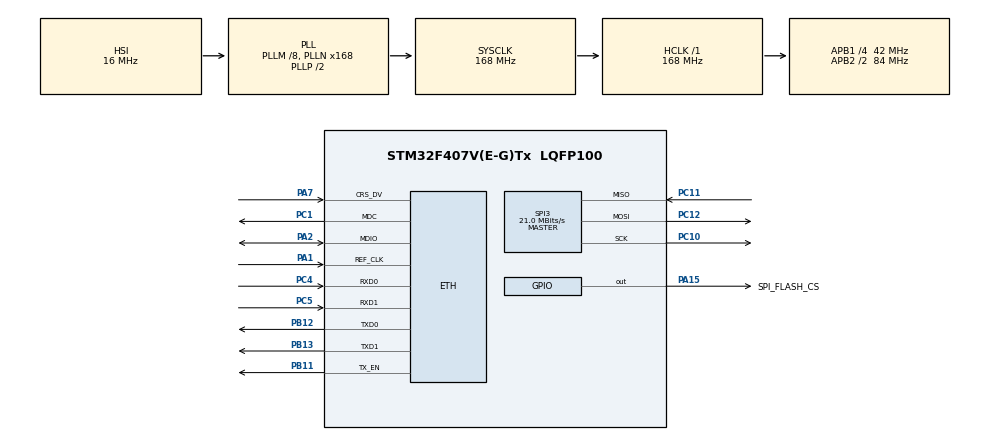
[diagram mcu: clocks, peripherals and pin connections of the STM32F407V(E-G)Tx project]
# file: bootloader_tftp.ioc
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Dma.Request0=SPI3_RX
Dma.Request1=SPI3_TX
Dma.SPI3_RX.0.Direction=DMA_PERIPH_TO_MEMORY
Dma.SPI3_RX.0.FIFOMode=DMA_FIFOMODE_DISABLE
Dma.SPI3_RX.0.Instance=DMA1_Stream0
Dma.SPI3_RX.0.MemDataAlignment=DMA_MDATAALIGN_BYTE
Dma.SPI3_RX.0.MemInc=DMA_MINC_ENABLE
Dma.SPI3_RX.0.Mode=DMA_NORMAL
Dma.SPI3_RX.0.PeriphDataAlignment=DMA_PDATAALIGN_BYTE
Dma.SPI3_RX.0.PeriphInc=DMA_PINC_DISABLE
Dma.SPI3_RX.0.Priority=DMA_PRIORITY_LOW
Dma.SPI3_TX.1.Direction=DMA_MEMORY_TO_PERIPH
Dma.SPI3_TX.1.FIFOMode=DMA_FIFOMODE_DISABLE
Dma.SPI3_TX.1.Instance=DMA1_Stream5
Dma.SPI3_TX.1.MemDataAlignment=DMA_MDATAALIGN_BYTE
Dma.SPI3_TX.1.MemInc=DMA_MINC_ENABLE
Dma.SPI3_TX.1.Mode=DMA_NORMAL
Dma.SPI3_TX.1.PeriphDataAlignment=DMA_PDATAALIGN_BYTE
Dma.SPI3_TX.1.PeriphInc=DMA_PINC_DISABLE
Dma.SPI3_TX.1.Priority=DMA_PRIORITY_LOW
ETH.MACAddr=02\:80\:E1\:83\:05\:24
ETH.MediaInterface=ETH_MEDIA_INTERFACE_RMII
ETH.PhyAddress=3
FREERTOS.HEAP_NUMBER=4
FREERTOS.INCLUDE_xEventGroupSetBitFromISR=1
FREERTOS.INCLUDE_xTimerPendFunctionCall=1
FREERTOS.Mutexes01=SpiffsMutex,Dynamic,NULL;SpiFlashChipMutex,Dynamic,NULL
FREERTOS.Tasks01=defaultTask,0,256,StartDefaultTask,Default,NULL,Dynamic,NULL,NULL
FREERTOS.Timers01=GARP_Timer,send_GARP,osTimerPeriodic,Default,NULL,Dynamic,NULL
FREERTOS.configTOTAL_HEAP_SIZE=16384
FREERTOS.configUSE_TIMERS=1
LWIP.API_LIB_DEBUG=LWIP_DBG_OFF
LWIP.API_MSG_DEBUG=LWIP_DBG_OFF
LWIP.DHCP_DEBUG=LWIP_DBG_OFF
LWIP.ETHARP_DEBUG=LWIP_DBG_OFF
LWIP.HTTPD_DEBUG=LWIP_DBG_ON
LWIP.ICMP_DEBUG=LWIP_DBG_OFF
LWIP.IP_DEBUG=LWIP_DBG_OFF
LWIP.LWIP_AUTOIP=1
LWIP.LWIP_DBG_TYPES_ON=LWIP_DBG_OFF
LWIP.LWIP_DHCP_AUTOIP_COOP=1
LWIP.LWIP_DHCP_AUTOIP_COOP_TRIES=9
LWIP.LWIP_HTTPD=0
LWIP.LWIP_ICMP=0
LWIP.LWIP_IGMP=0
LWIP.LWIP_MULTICAST_TX_OPTIONS=1
LWIP.LWIP_NETIF_API=0
LWIP.LWIP_NETIF_HOSTNAME=0
LWIP.LWIP_SOCKET=0
LWIP.LWIP_TCP=0
LWIP.LWIP_TFTP=1
LWIP.LWIP_UDP=1
LWIP.LWIP_USE_EXTERNAL_MBEDTLS=0
LWIP.NETIF_DEBUG=LWIP_DBG_OFF
LWIP.PBUF_DEBUG=LWIP_DBG_OFF
LWIP.SOCKETS_DEBUG=LWIP_DBG_OFF
LWIP.SYS_DEBUG=LWIP_DBG_OFF
LWIP.TCPIP_DEBUG=LWIP_DBG_ON
LWIP.TCP_DEBUG=LWIP_DBG_OFF
LWIP.TFTP_DEBUG=LWIP_DBG_ON
LWIP.Version=v2.0.3_Cube
Mcu.Family=STM32F4
Mcu.Name=STM32F407V(E-G)Tx
Mcu.Package=LQFP100
NVIC.DMA1_Stream0_IRQn=true\:5\:0\:false\:false\:true\:true\:false
NVIC.DMA1_Stream5_IRQn=true\:5\:0\:false\:false\:true\:true\:false
NVIC.ETH_IRQn=true\:5\:0\:false\:false\:true\:true\:false
NVIC.PriorityGroup=NVIC_PRIORITYGROUP_4
NVIC.TIM1_UP_TIM10_IRQn=true\:0\:0\:false\:false\:true\:false\:false
NVIC.TimeBase=TIM1_UP_TIM10_IRQn
NVIC.TimeBaseIP=TIM1
PA1.Mode=RMII
PA1.Signal=ETH_REF_CLK
PA13.Mode=Trace_Asynchronous_SW
PA13.Signal=SYS_JTMS-SWDIO
PA14.Mode=Trace_Asynchronous_SW
PA14.Signal=SYS_JTCK-SWCLK
PA15.GPIO_Label=SPI_FLASH_CS
PA15.Signal=GPIO_Output
PA2.Mode=RMII
PA2.Signal=ETH_MDIO
PA7.Mode=RMII
PA7.Signal=ETH_CRS_DV
PB11.Mode=RMII
PB11.Signal=ETH_TX_EN
PB12.Mode=RMII
PB12.Signal=ETH_TXD0
PB13.Mode=RMII
PB13.Signal=ETH_TXD1
PB3.Mode=Trace_Asynchronous_SW
PB3.Signal=SYS_JTDO-SWO
PC1.Mode=RMII
PC1.Signal=ETH_MDC
PC10.Mode=Full_Duplex_Master
PC10.Signal=SPI3_SCK
PC11.Mode=Full_Duplex_Master
PC11.Signal=SPI3_MISO
PC12.Mode=Full_Duplex_Master
PC12.Signal=SPI3_MOSI
PC4.Mode=RMII
PC4.Signal=ETH_RXD0
PC5.Mode=RMII
PC5.Signal=ETH_RXD1
ProjectManager.HeapSize=0x400
ProjectManager.StackSize=0x800
ProjectManager.TargetToolchain=MDK-ARM V5
RCC.48MHZClocksFreq_Value=48000000
RCC.AHBFreq_Value=168000000
RCC.APB1CLKDivider=RCC_HCLK_DIV4
RCC.APB1Freq_Value=42000000
RCC.APB1TimFreq_Value=84000000
RCC.APB2CLKDivider=RCC_HCLK_DIV2
RCC.APB2Freq_Value=84000000
RCC.APB2TimFreq_Value=168000000
RCC.CortexFreq_Value=168000000
RCC.HCLKFreq_Value=168000000
RCC.HSE_VALUE=16000000
RCC.HSI_VALUE=16000000
RCC.LSE_VALUE=32768
RCC.PLLM=8
RCC.PLLN=168
RCC.PLLQ=7
RCC.SYSCLKFreq_VALUE=168000000
RCC.SYSCLKSource=RCC_SYSCLKSOURCE_PLLCLK
RCC.VCOOutputFreq_Value=336000000
SPI3.BaudRatePrescaler=SPI_BAUDRATEPRESCALER_2
SPI3.CalculateBaudRate=21.0 MBits/s
SPI3.Direction=SPI_DIRECTION_2LINES
SPI3.Mode=SPI_MODE_MASTER
SPI3.VirtualType=VM_MASTER
VP_CRC_VS_CRC.Mode=CRC_Activate
VP_FREERTOS_VS_ENABLE.Mode=Enabled
VP_LWIP_VS_Enabled.Mode=Enabled
VP_SYS_VS_tim1.Mode=TIM1
board=io_2eth_stm32f4

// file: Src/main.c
/**
  ******************************************************************************
  * @file           : main.c
  * @brief          : Main program body
  ******************************************************************************
  * This notice applies to any and all portions of this file
  * that are not between comment pairs USER CODE BEGIN and
  * USER CODE END. Other portions of this file, whether
  * inserted by the user or by software development tools
  * are owned by their respective copyright owners.
  *
  * Copyright (c) 2018 STMicroelectronics International N.V.
  * All rights reserved.
  *
  * Redistribution and use in source and binary forms, with or without
  * modification, are permitted, provided that the following conditions are met:
  *
  * 1. Redistribution of source code must retain the above copyright notice,
  *    this list of conditions and the following disclaimer.
  * 2. Redistributions in binary form must reproduce the above copyright notice,
  *    this list of conditions and the following disclaimer in the documentation
  *    and/or other materials provided with the distribution.
  * 3. Neither the name of STMicroelectronics nor the names of other
  *    contributors to this software may be used to endorse or promote products
  *    derived from this software without specific written permission.
  * 4. This software, including modifications and/or derivative works of this
  *    software, must execute solely and exclusively on microcontroller or
  *    microprocessor devices manufactured by or for STMicroelectronics.
  * 5. Redistribution and use of this software other than as permitted under
  *    this license is void and will automatically terminate your rights under
  *    this license.
  *
  * THIS SOFTWARE IS PROVIDED BY STMICROELECTRONICS AND CONTRIBUTORS "AS IS"
  * AND ANY EXPRESS, IMPLIED OR STATUTORY WARRANTIES, INCLUDING, BUT NOT
  * LIMITED TO, THE IMPLIED WARRANTIES OF MERCHANTABILITY, FITNESS FOR A
  * PARTICULAR PURPOSE AND NON-INFRINGEMENT OF THIRD PARTY INTELLECTUAL PROPERTY
  * RIGHTS ARE DISCLAIMED TO THE FULLEST EXTENT PERMITTED BY LAW. IN NO EVENT
  * SHALL STMICROELECTRONICS OR CONTRIBUTORS BE LIABLE FOR ANY DIRECT, INDIRECT,
  * INCIDENTAL, SPECIAL, EXEMPLARY, OR CONSEQUENTIAL DAMAGES (INCLUDING, BUT NOT
  * LIMITED TO, PROCUREMENT OF SUBSTITUTE GOODS OR SERVICES; LOSS OF USE, DATA,
  * OR PROFITS; OR BUSINESS INTERRUPTION) HOWEVER CAUSED AND ON ANY THEORY OF
  * LIABILITY, WHETHER IN CONTRACT, STRICT LIABILITY, OR TORT (INCLUDING
  * NEGLIGENCE OR OTHERWISE) ARISING IN ANY WAY OUT OF THE USE OF THIS SOFTWARE,
  * EVEN IF ADVISED OF THE POSSIBILITY OF SUCH DAMAGE.
  *
  ******************************************************************************
  */
#include "main.h"
#include "stm32f4xx_hal.h"
#include "cmsis_os.h"
#include "lwip.h"

/* USER CODE BEGIN Includes */
#include "spi_flash.h"
#include "spiffs.h"
#include "lwip/apps/tftp_server.h"
#include "fw_upgrade.h"
/* USER CODE END Includes */

CRC_HandleTypeDef hcrc;

SPI_HandleTypeDef hspi3;
DMA_HandleTypeDef hdma_spi3_rx;
DMA_HandleTypeDef hdma_spi3_tx;

osThreadId defaultTaskHandle;
osTimerId GARP_TimerHandle;
osMutexId SpiffsMutexHandle;
osMutexId SpiFlashChipMutexHandle;

/* USER CODE BEGIN PV */
/* Private variables ---------------------------------------------------------*/
EventGroupHandle_t xComEventGroup;
extern struct netif gnetif;
extern spiffs SPI_FFS_fs;
/* USER CODE END PV */

void SystemClock_Config(void);
static void MX_GPIO_Init(void);
static void MX_DMA_Init(void);
static void MX_SPI3_Init(void);
static void MX_CRC_Init(void);
void StartDefaultTask(void const * argument);
void send_GARP(void const * argument);

/* USER CODE BEGIN PFP */
/* Private function prototypes -----------------------------------------------*/
static void MX_BKP_Init(void);
/* USER CODE END PFP */

/* USER CODE BEGIN 0 */

static void* tftp_file_open(const char* fname, const char* mode, u8_t write) {
	spiffs_file nFileHandle;
	if (write) {
		nFileHandle = SPIFFS_open(&SPI_FFS_fs, fname, SPIFFS_CREAT | SPIFFS_TRUNC | SPIFFS_RDWR, 0);
		printf("errno %d\n", SPIFFS_errno(&SPI_FFS_fs));
	} else {
		nFileHandle = SPIFFS_open(&SPI_FFS_fs, fname, SPIFFS_RDONLY, 0);
	}
	if (nFileHandle <= 0 ) {
		return NULL;
	} else {
		return ((void*)((uint32_t)nFileHandle));
	}
}

static void tftp_file_close(void* handle) {
	SPIFFS_close(&SPI_FFS_fs, (spiffs_file)handle);
}

static int tftp_file_read(void* handle, void* buf, int bytes) {
	int res;
	res = SPIFFS_read(&SPI_FFS_fs, (spiffs_file)handle, (u8_t *)buf, bytes);
	return res;
}

static int tftp_file_write(void* handle, struct pbuf* p) {
	return SPIFFS_write(&SPI_FFS_fs, (spiffs_file)handle, p->payload, p->len);
}

const struct tftp_context TFTP_Ctx = {.open = tftp_file_open, .close = tftp_file_close, .read = tftp_file_read, .write = tftp_file_write};
/* USER CODE END 0 */

int main(void)
{

  /* MCU Configuration----------------------------------------------------------*/

  /* Reset of all peripherals, Initializes the Flash interface and the Systick. */
  HAL_Init();

  /* Configure the system clock */
  SystemClock_Config();

  /* Initialize all configured peripherals */
  MX_GPIO_Init();
  MX_DMA_Init();
  MX_SPI3_Init();
  MX_CRC_Init();
  /* USER CODE BEGIN 2 */
	MX_BKP_Init();
  /* USER CODE END 2 */

  /* Create the mutex(es) */
  /* definition and creation of SpiffsMutex */
  osMutexDef(SpiffsMutex);
  SpiffsMutexHandle = osMutexCreate(osMutex(SpiffsMutex));

  /* definition and creation of SpiFlashChipMutex */
  osMutexDef(SpiFlashChipMutex);
  SpiFlashChipMutexHandle = osMutexCreate(osMutex(SpiFlashChipMutex));

  /* USER CODE BEGIN RTOS_MUTEX */
  /* add mutexes, ... */
	xComEventGroup = xEventGroupCreate();
	if( xComEventGroup == NULL ) {
		printf("Communication event group create failed.\n");
	}
  /* USER CODE END RTOS_MUTEX */

  /* Create the timer(s) */
  /* definition and creation of GARP_Timer */
  osTimerDef(GARP_Timer, send_GARP);
  GARP_TimerHandle = osTimerCreate(osTimer(GARP_Timer), osTimerPeriodic, NULL);

  /* USER CODE BEGIN RTOS_TIMERS */
  /* start timers, add new ones, ... */
	osTimerStart(GARP_TimerHandle, 5000);
  /* USER CODE END RTOS_TIMERS */

  /* Create the thread(s) */
  /* definition and creation of defaultTask */
  osThreadDef(defaultTask, StartDefaultTask, osPriorityNormal, 0, 256);
  defaultTaskHandle = osThreadCreate(osThread(defaultTask), NULL);

  /* Start scheduler */
  osKernelStart();

  /* We should never get here as control is now taken by the scheduler */

  /* Infinite loop */
  while (1)
  {

  }

}

void SystemClock_Config(void)
{

  RCC_OscInitTypeDef RCC_OscInitStruct;
  RCC_ClkInitTypeDef RCC_ClkInitStruct;

    /**Configure the main internal regulator output voltage
    */
  __HAL_RCC_PWR_CLK_ENABLE();

  __HAL_PWR_VOLTAGESCALING_CONFIG(PWR_REGULATOR_VOLTAGE_SCALE1);

    /**Initializes the CPU, AHB and APB busses clocks
    */
  RCC_OscInitStruct.OscillatorType = RCC_OSCILLATORTYPE_HSI;
  RCC_OscInitStruct.HSIState = RCC_HSI_ON;
  RCC_OscInitStruct.HSICalibrationValue = 16;
  RCC_OscInitStruct.PLL.PLLState = RCC_PLL_ON;
  RCC_OscInitStruct.PLL.PLLSource = RCC_PLLSOURCE_HSI;
  RCC_OscInitStruct.PLL.PLLM = 8;
  RCC_OscInitStruct.PLL.PLLN = 168;
  RCC_OscInitStruct.PLL.PLLP = RCC_PLLP_DIV2;
  RCC_OscInitStruct.PLL.PLLQ = 7;
  if (HAL_RCC_OscConfig(&RCC_OscInitStruct) != HAL_OK)
  {
    _Error_Handler(__FILE__, __LINE__);
  }

    /**Initializes the CPU, AHB and APB busses clocks
    */
  RCC_ClkInitStruct.ClockType = RCC_CLOCKTYPE_HCLK|RCC_CLOCKTYPE_SYSCLK
                              |RCC_CLOCKTYPE_PCLK1|RCC_CLOCKTYPE_PCLK2;
  RCC_ClkInitStruct.SYSCLKSource = RCC_SYSCLKSOURCE_PLLCLK;
  RCC_ClkInitStruct.AHBCLKDivider = RCC_SYSCLK_DIV1;
  RCC_ClkInitStruct.APB1CLKDivider = RCC_HCLK_DIV4;
  RCC_ClkInitStruct.APB2CLKDivider = RCC_HCLK_DIV2;

  if (HAL_RCC_ClockConfig(&RCC_ClkInitStruct, FLASH_LATENCY_5) != HAL_OK)
  {
    _Error_Handler(__FILE__, __LINE__);
  }

    /**Configure the Systick interrupt time
    */
  HAL_SYSTICK_Config(HAL_RCC_GetHCLKFreq()/1000);

    /**Configure the Systick
    */
  HAL_SYSTICK_CLKSourceConfig(SYSTICK_CLKSOURCE_HCLK);

  /* SysTick_IRQn interrupt configuration */
  HAL_NVIC_SetPriority(SysTick_IRQn, 15, 0);
}

/* CRC init function */
static void MX_CRC_Init(void)
{

  hcrc.Instance = CRC;
  if (HAL_CRC_Init(&hcrc) != HAL_OK)
  {
    _Error_Handler(__FILE__, __LINE__);
  }

}

/* SPI3 init function */
static void MX_SPI3_Init(void)
{

  /* SPI3 parameter configuration*/
  hspi3.Instance = SPI3;
  hspi3.Init.Mode = SPI_MODE_MASTER;
  hspi3.Init.Direction = SPI_DIRECTION_2LINES;
  hspi3.Init.DataSize = SPI_DATASIZE_8BIT;
  hspi3.Init.CLKPolarity = SPI_POLARITY_LOW;
  hspi3.Init.CLKPhase = SPI_PHASE_1EDGE;
  hspi3.Init.NSS = SPI_NSS_SOFT;
  hspi3.Init.BaudRatePrescaler = SPI_BAUDRATEPRESCALER_2;
  hspi3.Init.FirstBit = SPI_FIRSTBIT_MSB;
  hspi3.Init.TIMode = SPI_TIMODE_DISABLE;
  hspi3.Init.CRCCalculation = SPI_CRCCALCULATION_DISABLE;
  hspi3.Init.CRCPolynomial = 10;
  if (HAL_SPI_Init(&hspi3) != HAL_OK)
  {
    _Error_Handler(__FILE__, __LINE__);
  }

}

static void MX_DMA_Init(void)
{
  /* DMA controller clock enable */
  __HAL_RCC_DMA1_CLK_ENABLE();

  /* DMA interrupt init */
  /* DMA1_Stream0_IRQn interrupt configuration */
  HAL_NVIC_SetPriority(DMA1_Stream0_IRQn, 5, 0);
  HAL_NVIC_EnableIRQ(DMA1_Stream0_IRQn);
  /* DMA1_Stream5_IRQn interrupt configuration */
  HAL_NVIC_SetPriority(DMA1_Stream5_IRQn, 5, 0);
  HAL_NVIC_EnableIRQ(DMA1_Stream5_IRQn);

}

/** Configure pins as
        * Analog
        * Input
        * Output
        * EVENT_OUT
        * EXTI
*/
static void MX_GPIO_Init(void)
{

  GPIO_InitTypeDef GPIO_InitStruct;

  /* GPIO Ports Clock Enable */
  __HAL_RCC_GPIOC_CLK_ENABLE();
  __HAL_RCC_GPIOA_CLK_ENABLE();
  __HAL_RCC_GPIOB_CLK_ENABLE();

  /*Configure GPIO pin Output Level */
  HAL_GPIO_WritePin(SPI_FLASH_CS_GPIO_Port, SPI_FLASH_CS_Pin, GPIO_PIN_RESET);

  /*Configure GPIO pin : SPI_FLASH_CS_Pin */
  GPIO_InitStruct.Pin = SPI_FLASH_CS_Pin;
  GPIO_InitStruct.Mode = GPIO_MODE_OUTPUT_PP;
  GPIO_InitStruct.Pull = GPIO_NOPULL;
  GPIO_InitStruct.Speed = GPIO_SPEED_FREQ_LOW;
  HAL_GPIO_Init(SPI_FLASH_CS_GPIO_Port, &GPIO_InitStruct);

}

/* USER CODE BEGIN 4 */
static void MX_BKP_Init(void) {
	__HAL_RCC_RTC_ENABLE();
	__HAL_RCC_BKPSRAM_CLK_ENABLE();
	HAL_PWR_EnableBkUpAccess();
}

/* USER CODE END 4 */

void StartDefaultTask(void const * argument)
{
  /* init code for LWIP */
  MX_LWIP_Init();

  /* USER CODE BEGIN 5 */

	int nIntFW_Ver, nExtFW_Ver;
	spiffs_init();

	nExtFW_Ver = FWU_get_fw_version_FS(UPDATE_FILE_NAME);
	if (nExtFW_Ver > 0) {
		printf("FW found in external flash, upgrade!\n");
		FWU_upgrade(UPDATE_FILE_NAME);
		SPIFFS_remove(&SPI_FFS_fs, UPDATE_FILE_NAME);
		SPIFFS_unmount(&SPI_FFS_fs);
		FWU_run_app();
//	will never be here
	}

	nIntFW_Ver = FWU_get_fw_version_internal();
	if (nIntFW_Ver < 0) {
		printf("No FW was found neither in internal flash nor external FS.\n");
		tftp_init(&TFTP_Ctx);
	} else {
		SPIFFS_unmount(&SPI_FFS_fs);
		FWU_run_app();
	}

  /* Infinite loop */
	for(;;)
	{
		osDelay(1000);
	}
  /* USER CODE END 5 */
}

/* send_GARP function */
void send_GARP(void const * argument)
{
  /* USER CODE BEGIN send_GARP */
  etharp_gratuitous(&gnetif);
  /* USER CODE END send_GARP */
}

void HAL_TIM_PeriodElapsedCallback(TIM_HandleTypeDef *htim)
{
  if (htim->Instance == TIM1) {
    HAL_IncTick();
  }
}

void _Error_Handler(char *file, int line)
{
  while(1)
  {
  }
}

/************************ (C) COPYRIGHT STMicroelectronics *****END OF FILE****/
